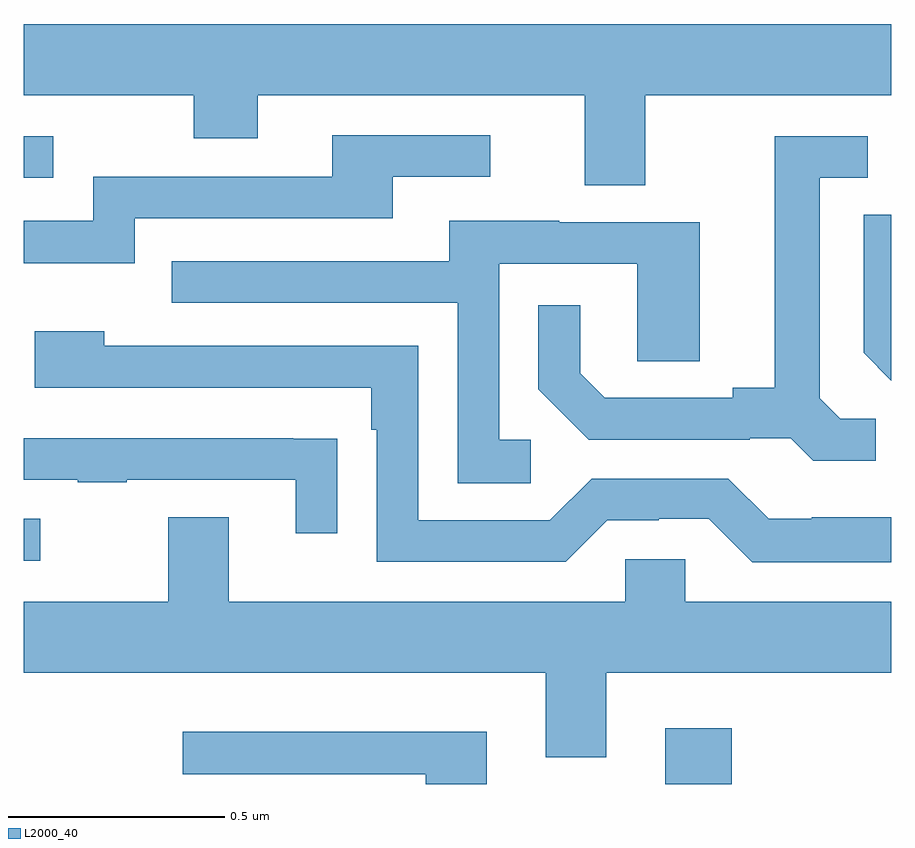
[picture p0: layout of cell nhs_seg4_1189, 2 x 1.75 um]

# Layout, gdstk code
import gdstk
lib = gdstk.Library(unit=1e-6, precision=1e-09)
def R(c, l, rs):  # rectangles x0, y0, x1, y1
    for r in rs: c.add(gdstk.rectangle(r[:2], r[2:], *l))
def P(c, l, *ps):  # polygons
    for p in ps: c.add(gdstk.Polygon(p, *l))
L2000_40 = (2000, 40)

nhs_seg4_1189 = lib.new_cell('nhs_seg4_1189')
R(nhs_seg4_1189, L2000_40, [(126.479,793.9,126.632,794.029), (125,794.415,125.038,794.511), (125,795.297,125.068,795.393)])
P(nhs_seg4_1189, L2000_40, [(126.433,795.488),(127,795.488),(127,795.652),(125,795.652),(125,795.488),(125.392,795.488),(125.392,795.389),(125.539,795.389),(125.539,795.488),(126.293,795.488),(126.293,795.28),(126.433,795.28)],
  [(125.256,795.204),(125.851,795.204),(125.851,795.3),(126.076,795.3),(126.076,795.396),(125.711,795.396),(125.711,795.3),(125.16,795.3),(125.16,795.198),(125,795.198),(125,795.101),(125.256,795.101)],
  [(126.964,794.742),(126.882,794.742),(126.835,794.789),(126.835,795.297),(126.946,795.297),(126.946,795.393),(126.731,795.393),(126.731,794.813),(126.635,794.813),(126.635,794.79),(126.34,794.79),(126.283,794.847),(126.283,795.004),(126.186,795.004),(126.186,794.81),(126.302,794.694),(126.674,794.694),(126.674,794.697),(126.768,794.697),(126.82,794.645),(126.964,794.645)],
  [(127,795.212),(126.936,795.212),(126.936,794.894),(127,794.83)],
  [(126.169,794.694),(126.096,794.694),(126.096,795.099),(126.414,795.099),(126.414,794.875),(126.559,794.875),(126.559,795.195),(126.235,795.195),(126.235,795.199),(125.981,795.199),(125.981,795.105),(125.341,795.105),(125.341,795.009),(126,795.009),(126,794.593),(126.169,794.593)],
  [(127,794.515),(126.817,794.515),(126.817,794.511),(126.717,794.511),(126.624,794.604),(126.309,794.604),(126.213,794.508),(125.91,794.508),(125.91,794.91),(125.186,794.91),(125.186,794.944),(125.025,794.944),(125.025,794.814),(125.801,794.814),(125.801,794.717),(125.814,794.717),(125.814,794.412),(126.249,794.412),(126.345,794.508),(126.464,794.508),(126.464,794.511),(126.579,794.511),(126.679,794.411),(127,794.411)],
  [(125.723,794.696),(125.621,794.696),(125.621,794.697),(125,794.697),(125,794.601),(125.125,794.601),(125.125,794.596),(125.237,794.596),(125.237,794.601),(125.627,794.601),(125.627,794.478),(125.723,794.478)],
  [(126.343,794.156),(127,794.156),(127,794.32),(126.525,794.32),(126.525,794.418),(126.387,794.418),(126.387,794.32),(125.473,794.32),(125.473,794.515),(125.333,794.515),(125.333,794.32),(125,794.32),(125,794.156),(126.203,794.156),(126.203,793.962),(126.343,793.962)],
  [(126.067,794.02),(125.367,794.02),(125.367,793.923),(125.927,793.923),(125.927,793.9),(126.067,793.9)])

lib.write_gds('nhs_seg4_1189.gds')
